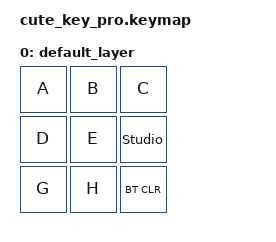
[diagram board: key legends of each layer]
#include <behaviors.dtsi>
#include <dt-bindings/zmk/keys.h>
#include <dt-bindings/zmk/bt.h>

/*
 * Key layout:
 *   ┌───┬───┬───┐
 *   │ A │ B │ C │  row 0
 *   ├───┼───┼───┤
 *   │ D │ E │STU│  row 1  (STU = unlock ZMK Studio editing)
 *   ├───┼───┼───┤
 *   │ G │ H │BT │  row 2  (BT = clear profile → enters pairing mode)
 *   └───┴───┴───┘
 */

/ {
    keymap {
        compatible = "zmk,keymap";

        default_layer {
            bindings = <
                &kp A   &kp B          &kp C
                &kp D   &kp E          &studio_unlock
                &kp G   &kp H          &bt BT_CLR
            >;
        };
    };
};
